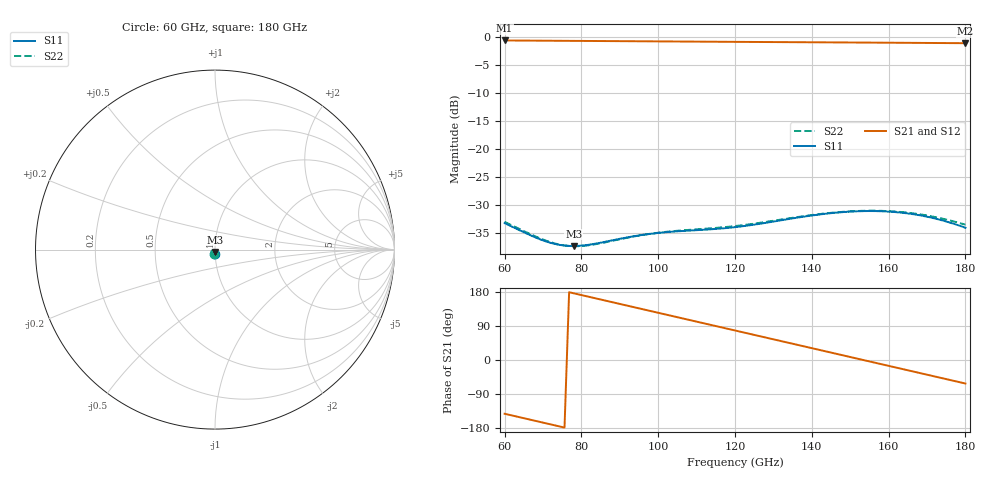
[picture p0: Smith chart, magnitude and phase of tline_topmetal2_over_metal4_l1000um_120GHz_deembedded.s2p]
! Created with skrf 2.2.0 (http://scikit-rf.org).
# GHz S DB R 50.0
! Port[1] = P1
! Port[2] = P2
!freq dBS11 angS11 dBS21 angS21 dBS12 angS12 dBS22 angS22
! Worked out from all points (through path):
!   101 points, 60 GHz to 180 GHz, reference 50 ohm
!   highest |S21| = -0.63 dB at 60 GHz (marker M1); lowest = -1.1 dB at 180 GHz (marker M2)
!   group delay of S21, straight-line fit = 6.49 ps
!   lowest |S11| = -37.3 dB at 78 GHz (marker M3), VSWR 1.03, Z = 50.2 - j1.35 ohm
!   |S11| at or under -10 dB: start of sweep to end of sweep
!   |S22| runs from -37.3 to -31.0 dB; largest |S21 - S12| = 1.5e-13
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60  -33.19 -96.2  -0.63 -141.8  -0.63 -141.8  -32.98 -97.4
64.8  -34.75 -96.4  -0.65 -153.1  -0.65 -153.1  -34.54 -98.1
69.6  -36.17 -92.7  -0.67 -164.3  -0.67 -164.3  -36.01 -94.9
78  -37.27 -79.3  -0.71 176.0  -0.71 176.0  -37.30 -81.5
80.4  -37.18 -75.5  -0.72 170.4  -0.72 170.4  -37.25 -77.5
85.2  -36.66 -70.2  -0.74 159.2  -0.74 159.2  -36.76 -71.5
90  -35.99 -67.9  -0.76 148.0  -0.76 148.0  -36.07 -68.6
96  -35.28 -67.8  -0.78 133.9  -0.78 133.9  -35.29 -68.1
100.8  -34.89 -68.7  -0.80 122.7  -0.80 122.7  -34.84 -68.8
105.6  -34.62 -69.6  -0.82 111.5  -0.82 111.5  -34.52 -69.7
110.4  -34.43 -70.1  -0.84 100.3  -0.84 100.3  -34.28 -70.3
115.2  -34.22 -70.0  -0.86 89.1  -0.86 89.1  -34.03 -70.4
120  -33.91 -69.6  -0.88 77.9  -0.88 77.9  -33.71 -70.3
129.6  -32.96 -70.0  -0.92 55.5  -0.92 55.5  -32.81 -71.1
135.6  -32.28 -72.1  -0.94 41.5  -0.94 41.5  -32.18 -73.1
140.4  -31.79 -74.9  -0.96 30.3  -0.96 30.3  -31.72 -75.6
146.4  -31.32 -79.4  -0.98 16.3  -0.98 16.3  -31.27 -79.8
151.2  -31.10 -83.7  -1.00 5.1  -1.00 5.1  -31.05 -83.7
156  -31.04 -88.3  -1.02 -6.1  -1.02 -6.1  -30.98 -87.9
160.8  -31.17 -93.0  -1.04 -17.3  -1.04 -17.3  -31.09 -92.1
170.4  -32.10 -101.1  -1.08 -39.7  -1.08 -39.7  -31.88 -99.2
180  -34.01 -103.8  -1.12 -62.1  -1.12 -62.1  -33.46 -101.0
